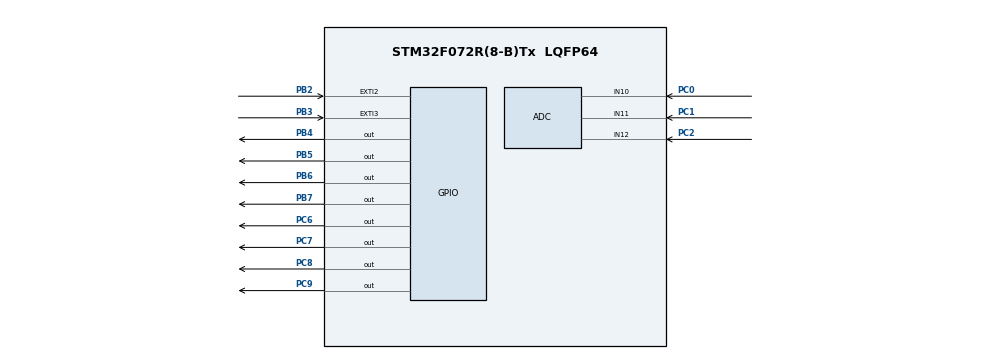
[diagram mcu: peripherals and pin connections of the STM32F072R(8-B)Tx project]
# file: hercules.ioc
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Dma.Request0=TIM6_UP
Dma.TIM6_UP.0.Direction=DMA_MEMORY_TO_PERIPH
Dma.TIM6_UP.0.Instance=DMA1_Channel3
Dma.TIM6_UP.0.MemDataAlignment=DMA_MDATAALIGN_HALFWORD
Dma.TIM6_UP.0.MemInc=DMA_MINC_ENABLE
Dma.TIM6_UP.0.Mode=DMA_NORMAL
Dma.TIM6_UP.0.PeriphDataAlignment=DMA_PDATAALIGN_HALFWORD
Dma.TIM6_UP.0.PeriphInc=DMA_PINC_DISABLE
Dma.TIM6_UP.0.Priority=DMA_PRIORITY_MEDIUM
Mcu.Family=STM32F0
Mcu.Name=STM32F072R(8-B)Tx
Mcu.Package=LQFP64
NVIC.DMA1_Channel2_3_IRQn=true\:0\:0\:false\:false\:true\:false\:true\:true
NVIC.EXTI2_3_IRQn=true\:0\:0\:false\:false\:true\:true\:true\:true
NVIC.TIM6_DAC_IRQn=true\:0\:0\:false\:false\:true\:true\:true\:true
PA0.Signal=S_TIM2_CH1_ETR
PA1.Signal=S_TIM2_CH2
PB2.Signal=GPXTI2
PB3.Signal=GPXTI3
PB4.Signal=GPIO_Output
PB5.Signal=GPIO_Output
PB6.Signal=GPIO_Output
PB7.Signal=GPIO_Output
PC0.Mode=IN10
PC0.Signal=ADC_IN10
PC1.Mode=IN11
PC1.Signal=ADC_IN11
PC2.Mode=IN12
PC2.Signal=ADC_IN12
PC6.Signal=GPIO_Output
PC7.Signal=GPIO_Output
PC8.Signal=GPIO_Output
PC9.Signal=GPIO_Output
ProjectManager.HeapSize=0x200
ProjectManager.StackSize=0x400
ProjectManager.TargetToolchain=MDK-ARM V5.32
SH.S_TIM2_CH1_ETR.0=TIM2_CH1
SH.S_TIM2_CH2.0=TIM2_CH2
TIM6.Period=30000
TIM6.Prescaler=11
VP_TIM6_VS_ClockSourceINT.Mode=Enable_Timer
board=custom

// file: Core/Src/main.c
/* USER CODE BEGIN Header */
/**
  ******************************************************************************
  * @file           : main.c
  * @brief          : Main program body
  ******************************************************************************
  * @attention
  *
  * Copyright (c) 2023 STMicroelectronics.
  * All rights reserved.
  *
  * This software is licensed under terms that can be found in the LICENSE file
  * in the root directory of this software component.
  * If no LICENSE file comes with this software, it is provided AS-IS.
  *
  ******************************************************************************
  */
/* USER CODE END Header */
#include "main.h"
#define NUM_MOTORS 2

ADC_HandleTypeDef hadc;

TIM_HandleTypeDef htim6;
DMA_HandleTypeDef hdma_tim6_up;

void SystemClock_Config(void);
static void MX_GPIO_Init(void);
static void MX_DMA_Init(void);
static void MX_ADC_Init(void);
static void MX_TIM6_Init(void);
void setDutyCycles();
void PI_update();
/* USER CODE BEGIN PFP */
struct LEDs {
  uint8_t red;
  uint8_t orange;
  uint8_t green;
  uint8_t blue;
  void (*set)(struct LEDs*);
} leds;

volatile int16_t target_tick_diff = 0;

struct Motor {
  enum DIR{F,R} dir;                      // Direction of movement (<0 = reverse; >0 = forward)
  uint8_t dirPin[2];

    struct PI_data {
    int16_t target_ticks;               // Aka desired speed target
    int16_t tick_rate;                 // Aka motor speed
    int16_t error_integral;            // Integrated error signal
    int16_t error_distance;            // Distance error signal
    int16_t total_ticks;                 // Aka motor speed
    uint16_t duty_cycle;
  } pi_data;

  void (*spin)(struct Motor*, uint16_t, int);
  void (*stop)(struct Motor*);
  void (*setCycle)(struct Motor*, uint8_t);
};

struct Motors {
  struct Motor l;
  struct Motor r;
} motors = {
    {.dir = F, .dirPin = {4, 5}, .pi_data = {0,0,0,0,0,0}},
    {.dir = F, .dirPin = {6, 7}, .pi_data = {0,0,0,0,0,0}}
  };

// void initMotors(void);

void setLEDs(struct LEDs* this) {
  GPIOC->ODR &= ((this->green << 9) | (this->orange << 8) | (this->blue << 7) | (this->red << 6));
  GPIOC->ODR |= ((this->green << 9) | (this->orange << 8) | (this->blue << 7) | (this->red << 6));
}

void initLEDs(struct LEDs* this) {
  RCC->AHBENR |= RCC_AHBENR_GPIOCEN;
  GPIOC->MODER &= ~(0xFF000);
  GPIOC->MODER |= 0x55000;
  this->red = 0;
  this->orange = 0;
  this->green = 0;
  this->blue = 0;
  this->set = &setLEDs;
}

void transmitValue(uint8_t val) {
  // Wait until our tx reg is ready
  volatile int wait = 1;
  while (wait)
    if (USART3->ISR & 0x80)
      wait = 0;
  // Write to tx reg
  USART3->TDR = val;
}

void transmit2bytes(uint16_t val) {
  transmitValue((uint8_t)(val >> 8));
  transmitValue((uint8_t)val);
}

void transmitChar(char c) {
    // Wait until our tx reg is ready
    volatile int wait = 1;
    while (wait)
        if (USART3->ISR & 0x80)
            wait = 0;
    // Write to tx reg
    USART3->TDR = c;
}

void transmitString(char* s) {
    while (*s != 0) {
        transmitChar(*s++);
    }
}

void initUart() {
  // Set PC10 and PC11 to alt fx mode
  RCC->AHBENR |= RCC_AHBENR_GPIOCEN;
  GPIOC->MODER &= ~(0xF00000);    // Clear
  GPIOC->MODER |= 0xA00000;   		 // 1010

  // Set PC10 to AF1 for USART3_TX/RX
  GPIOC->AFR[1] &= ~(0xFF00);   	 // Clear
  GPIOC->AFR[1] |= 0x1100;   		 // Set 11 and 10 to 000

  // Enable system clock for USART3
  RCC->APB1ENR |= RCC_APB1ENR_USART3EN;

  // Set Baud rate
  uint64_t t_baud = 9600;
  uint64_t f_clk = SystemCoreClock;
  uint64_t brr = f_clk/t_baud;
  USART3->BRR &= ~(0xFFFFFFFF);   	 // Clear
  USART3->BRR |= brr;

  // Enable tx
  USART3->CR1 |= (1 << 3);

  // Enable rx
  USART3->CR1 |= (1 << 2);

  // Enable rx not-empty interrupt
  USART3->CR1 |= (1 << 5);

  // Enable USART
  USART3->CR1 |= (1 << 0);

  // Enable USART3 interrupt on NVIC
  NVIC_EnableIRQ(USART3_4_IRQn);
  NVIC_SetPriority(USART3_4_IRQn, 1);
}

/* USER CODE END PFP */

int main(void)
{
  HAL_Init();
  SystemClock_Config();

  MX_GPIO_Init();
  MX_DMA_Init();
  MX_ADC_Init();
  MX_TIM6_Init();
  initLEDs(&leds);
  initUart();

  int i = 0;
  while (1)
  {
    i = i % 100;
    if (i == 0)
    {
      leds.red = !leds.red;
      leds.set(&leds);
    }
    PI_update();
    setDutyCycles();

    i++;
    HAL_Delay(5);
  }
}

struct Tick_Counts {
  int16_t l;
  int16_t r;
} ticks;

/**
  * @brief This function handles EXTI line 2 and 3 interrupts.
  */
void EXTI2_3_IRQHandler(void)
{

  if (EXTI->PR & (1 << 2))
  {
    leds.green = !leds.green;
    ticks.l += (motors.l.dir == F) - (motors.l.dir == R);
  }
  if (EXTI->PR & (1 << 3))
  {
    leds.orange = !leds.orange;
    ticks.r += (motors.r.dir == F) - (motors.r.dir == R);
  }
  leds.set(&leds);

  HAL_GPIO_EXTI_IRQHandler(GPIO_PIN_2);
  HAL_GPIO_EXTI_IRQHandler(GPIO_PIN_3);
}

/**
  * @brief This function handles TIM6 global and DAC channel underrun error interrupts.
  */
void TIM6_DAC_IRQHandler(void)
{
  leds.blue = !leds.blue;
  leds.set(&leds);

  motors.l.pi_data.tick_rate = ticks.l;
  ticks.l = 0;
  motors.r.pi_data.tick_rate = ticks.r;
  ticks.r = 0;

  motors.l.pi_data.total_ticks += motors.l.pi_data.tick_rate;
  motors.r.pi_data.total_ticks += motors.r.pi_data.tick_rate;

  TIM6->SR &= ~TIM_SR_UIF;        // Acknowledge the interrupt
}

// Calculates error for single motor and resets PWM signal
/* Needs:
  -
  */
void PI_update() {

  int16_t meanTicks = (motors.l.pi_data.total_ticks + motors.r.pi_data.total_ticks) >> 1;

  struct Motor* myMotor = &motors.l;

  int16_t error;
  int16_t angular_error;
  int16_t duty_cycle;

  int16_t Kp = 1;
  int16_t Ki = 1;
  int16_t Ka = 1;

  angular_error = motors.l.pi_data.total_ticks - motors.r.pi_data.total_ticks - target_tick_diff;

  for (int i = 0; i < NUM_MOTORS; i++) {
    // error calculation
    error = myMotor->pi_data.target_ticks - myMotor->pi_data.tick_rate;

    // error integral calculation
    myMotor->pi_data.error_integral += error;
    myMotor->pi_data.error_integral = (myMotor->pi_data.error_integral > 3200) ? 3200 : myMotor->pi_data.error_integral;
    myMotor->pi_data.error_integral = (myMotor->pi_data.error_integral < 0) ? 0 : myMotor->pi_data.error_integral; // do I want negative values?

    // calculate output
    duty_cycle = (((error) << 1) + angular_error + myMotor->pi_data.error_integral) >> 5;
    myMotor->pi_data.duty_cycle = (duty_cycle > 100) ? 100 : duty_cycle;
    myMotor++;
  }
}

// Set the duty cycle of the PWM, accepts (0-100)
void setDutyCycles() {
  struct Motor* myMotor = &motors.l;
  uint16_t duty = motors.l.pi_data.duty_cycle;

  for (int i = 0; i < NUM_MOTORS; i++) {
    duty = myMotor->pi_data.duty_cycle;
    if(duty <= 100) {
        switch (i) {
            case 0:
                TIM2->CCR1 = duty;
                break;
            case 1:
                TIM2->CCR2 = duty;
                break;
        }
    }
    myMotor++;
  }
}

void SystemClock_Config(void)
{
  RCC_OscInitTypeDef RCC_OscInitStruct = {0};
  RCC_ClkInitTypeDef RCC_ClkInitStruct = {0};

  /** Initializes the RCC Oscillators according to the specified parameters
  * in the RCC_OscInitTypeDef structure.
  */
  RCC_OscInitStruct.OscillatorType = RCC_OSCILLATORTYPE_HSI|RCC_OSCILLATORTYPE_HSI14;
  RCC_OscInitStruct.HSIState = RCC_HSI_ON;
  RCC_OscInitStruct.HSI14State = RCC_HSI14_ON;
  RCC_OscInitStruct.HSICalibrationValue = RCC_HSICALIBRATION_DEFAULT;
  RCC_OscInitStruct.HSI14CalibrationValue = 16;
  RCC_OscInitStruct.PLL.PLLState = RCC_PLL_NONE;
  if (HAL_RCC_OscConfig(&RCC_OscInitStruct) != HAL_OK)
  {
    Error_Handler();
  }

  /** Initializes the CPU, AHB and APB buses clocks
  */
  RCC_ClkInitStruct.ClockType = RCC_CLOCKTYPE_HCLK|RCC_CLOCKTYPE_SYSCLK
                              |RCC_CLOCKTYPE_PCLK1;
  RCC_ClkInitStruct.SYSCLKSource = RCC_SYSCLKSOURCE_HSI;
  RCC_ClkInitStruct.AHBCLKDivider = RCC_SYSCLK_DIV1;
  RCC_ClkInitStruct.APB1CLKDivider = RCC_HCLK_DIV1;

  if (HAL_RCC_ClockConfig(&RCC_ClkInitStruct, FLASH_LATENCY_0) != HAL_OK)
  {
    Error_Handler();
  }
}

static void MX_ADC_Init(void)
{

  ADC_ChannelConfTypeDef sConfig = {0};

  /** Configure the global features of the ADC (Clock, Resolution, Data Alignment and number of conversion)
  */
  hadc.Instance = ADC1;
  hadc.Init.ClockPrescaler = ADC_CLOCK_ASYNC_DIV1;
  hadc.Init.Resolution = ADC_RESOLUTION_12B;
  hadc.Init.DataAlign = ADC_DATAALIGN_RIGHT;
  hadc.Init.ScanConvMode = ADC_SCAN_DIRECTION_FORWARD;
  hadc.Init.EOCSelection = ADC_EOC_SINGLE_CONV;
  hadc.Init.LowPowerAutoWait = DISABLE;
  hadc.Init.LowPowerAutoPowerOff = DISABLE;
  hadc.Init.ContinuousConvMode = DISABLE;
  hadc.Init.DiscontinuousConvMode = DISABLE;
  hadc.Init.ExternalTrigConv = ADC_SOFTWARE_START;
  hadc.Init.ExternalTrigConvEdge = ADC_EXTERNALTRIGCONVEDGE_NONE;
  hadc.Init.DMAContinuousRequests = DISABLE;
  hadc.Init.Overrun = ADC_OVR_DATA_PRESERVED;
  if (HAL_ADC_Init(&hadc) != HAL_OK)
  {
    Error_Handler();
  }

  /** Configure for the selected ADC regular channel to be converted.
  */
  sConfig.Channel = ADC_CHANNEL_10;
  sConfig.Rank = ADC_RANK_CHANNEL_NUMBER;
  sConfig.SamplingTime = ADC_SAMPLETIME_1CYCLE_5;
  if (HAL_ADC_ConfigChannel(&hadc, &sConfig) != HAL_OK)
  {
    Error_Handler();
  }

  /** Configure for the selected ADC regular channel to be converted.
  */
  sConfig.Channel = ADC_CHANNEL_11;
  if (HAL_ADC_ConfigChannel(&hadc, &sConfig) != HAL_OK)
  {
    Error_Handler();
  }

  /** Configure for the selected ADC regular channel to be converted.
  */
  sConfig.Channel = ADC_CHANNEL_12;
  if (HAL_ADC_ConfigChannel(&hadc, &sConfig) != HAL_OK)
  {
    Error_Handler();
  }

}

static void MX_TIM6_Init(void)
{

  RCC->APB1ENR |= RCC_APB1ENR_TIM6EN;

  // // Select PSC and ARR values that give an appropriate interrupt rate
  TIM6->PSC = 11;
  TIM6->ARR = 30000;

  TIM6->DIER |= TIM_DIER_UIE;             // Enable update event interrupt
  TIM6->CR1 |= TIM_CR1_CEN;               // Enable Timer

  NVIC_EnableIRQ(TIM6_DAC_IRQn);          // Enable interrupt in NVIC
  NVIC_SetPriority(TIM6_DAC_IRQn, 2);

}

// void initMotors() {
//     int pwm_in_pins[] = {0, 1};
//     int mtr_A_dir_pins[] = {4, 5};
//     int mtr_B_dir_pins[] = {6, 7};

//     for (int i = 0; i < NUM_MOTORS; i++) {
//         struct Motor *motor = &(motors[i]);
//         motor->side = i; // Range is 1-2
//         motor->direction = 1;
//         motor->target_ticks = 100;
//         motor->num_ticks = 0;
//         motor->error = 0;
//         motor->error_integral = 0;

//         // motor->setCycle = &pwm_setDutyCycle;
//         // motor->spin = &spinMotor;
//         // motor->stop = &stopMotor;

//         motor->pwmGpio = GPIOA;
//         motor->pwm_in_pin = pwm_in_pins[i];

//         motor->dirGpio = GPIOB;
//         switch (i) {
//             case 0:
//                 motor->dir_pin_A = mtr_A_dir_pins[0];
//                 motor->dir_pin_B = mtr_A_dir_pins[1];
//                 break;
//             case 1:
//                 motor->dir_pin_A = mtr_B_dir_pins[0];
//                 motor->dir_pin_B = mtr_B_dir_pins[1];
//                 break;
//         }
//     }
// }

static void MX_DMA_Init(void)
{

  /* DMA controller clock enable */
  __HAL_RCC_DMA1_CLK_ENABLE();

  /* DMA interrupt init */
  /* DMA1_Channel2_3_IRQn interrupt configuration */
  HAL_NVIC_SetPriority(DMA1_Channel2_3_IRQn, 0, 0);
  HAL_NVIC_EnableIRQ(DMA1_Channel2_3_IRQn);

}

static void MX_GPIO_Init(void)
{
  GPIO_InitTypeDef GPIO_InitStruct = {0};

  /* GPIO Ports Clock Enable */
  __HAL_RCC_GPIOC_CLK_ENABLE();
  __HAL_RCC_GPIOA_CLK_ENABLE();
  __HAL_RCC_GPIOB_CLK_ENABLE();

  /*Configure GPIO pin Output Level */
  HAL_GPIO_WritePin(GPIOC, GPIO_PIN_6|GPIO_PIN_7|GPIO_PIN_8|GPIO_PIN_9, GPIO_PIN_RESET);

  /*Configure GPIO pin Output Level */
  HAL_GPIO_WritePin(GPIOB, GPIO_PIN_4|GPIO_PIN_5|GPIO_PIN_6|GPIO_PIN_7, GPIO_PIN_RESET);

  /*Configure GPIO pins : PA0 PA1 */

  // Set up pin PA0-1 for H-bridge PWM output (TIMER 2 CH1-2)
  GPIOA->MODER |= (1 << 1);
  GPIOA->MODER &= ~(1 << 0);
  GPIOA->MODER |= (1 << 3);
  GPIOA->MODER &= ~(1 << 2);

  // Set PA0-1 to AF1
  GPIOA->AFR[0] &= 0xFFFFFF00; // clear PA4 bits,
  GPIOA->AFR[0] |= (1 << 1);
  GPIOA->AFR[0] |= (1 << 5);

  // Set up PWM timer
  RCC->APB1ENR |= RCC_APB1ENR_TIM2EN;
  TIM2->CR1 = 0;                          // Clears; defaults to edge-aligned upcounting
  TIM2->CCMR1 = 0;                        // (prevents having to manually clear bits)
  TIM2->CCER = 0;

  // Set output-compare CH1-4 to PWM1 mode and enable CCR1 preload buffer
  TIM2->CCMR1 |= (TIM_CCMR1_OC1M_2 | TIM_CCMR1_OC1M_1); //| TIM_CCMR1_OC1PE); // Enable channel 1
  TIM2->CCMR1 |= (TIM_CCMR1_OC2M_2 | TIM_CCMR1_OC2M_1); //| TIM_CCMR1_OC2PE); // Enable channel 2

  TIM2->CCER |= (TIM_CCER_CC1E | TIM_CCER_CC2E);        // Enable capture-compare channel 1-2
  TIM2->PSC = 1;                         // Run timer on 24Mhz
  TIM2->ARR = 2400;                      // PWM at 20kHz

  TIM2->CCR1 = 2000;                        // Start PWMs at 0% duty cycle
  TIM2->CCR2 = 2000;

  TIM2->CR1 |= TIM_CR1_CEN;              // Enable timer
  // GPIO_InitStruct.Pin = GPIO_PIN_0|GPIO_PIN_1;
  // GPIO_InitStruct.Mode = GPIO_MODE_AF_PP;
  // GPIO_InitStruct.Pull = GPIO_NOPULL;
  // GPIO_InitStruct.Speed = GPIO_SPEED_FREQ_LOW;
  // GPIO_InitStruct.Alternate = GPIO_AF2_TIM2;
  // HAL_GPIO_Init(GPIOA, &GPIO_InitStruct);

  /*Configure GPIO pins : PB2 PB3 */
  GPIO_InitStruct.Pin = GPIO_PIN_2|GPIO_PIN_3;
  GPIO_InitStruct.Mode = GPIO_MODE_IT_RISING_FALLING;
  GPIO_InitStruct.Pull = GPIO_NOPULL;
  HAL_GPIO_Init(GPIOB, &GPIO_InitStruct);

  /*Configure GPIO pins : PC6 PC7 PC8 PC9 */
  GPIO_InitStruct.Pin = GPIO_PIN_6|GPIO_PIN_7|GPIO_PIN_8|GPIO_PIN_9;
  GPIO_InitStruct.Mode = GPIO_MODE_OUTPUT_PP;
  GPIO_InitStruct.Pull = GPIO_NOPULL;
  GPIO_InitStruct.Speed = GPIO_SPEED_FREQ_LOW;
  HAL_GPIO_Init(GPIOC, &GPIO_InitStruct);

  /*Configure GPIO pins : PB4 PB5 PB6 PB7 */
  GPIO_InitStruct.Pin = GPIO_PIN_4|GPIO_PIN_5|GPIO_PIN_6|GPIO_PIN_7;
  GPIO_InitStruct.Mode = GPIO_MODE_OUTPUT_PP;
  GPIO_InitStruct.Pull = GPIO_NOPULL;
  GPIO_InitStruct.Speed = GPIO_SPEED_FREQ_LOW;
  HAL_GPIO_Init(GPIOB, &GPIO_InitStruct);

  /* EXTI interrupt init*/
  HAL_NVIC_SetPriority(EXTI2_3_IRQn, 0, 0);
  HAL_NVIC_EnableIRQ(EXTI2_3_IRQn);

}

void Error_Handler(void)
{
  __disable_irq();
  while (1)
  {
  }
}
